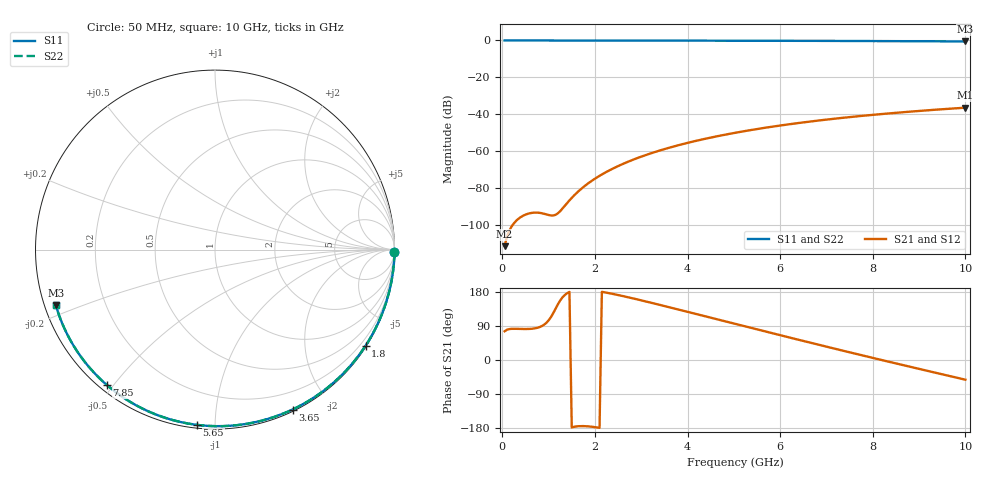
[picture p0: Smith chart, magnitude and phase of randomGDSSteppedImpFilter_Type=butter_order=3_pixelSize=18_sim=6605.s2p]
! freq	dB(S11)	phase(S11)	dB(S12)	phase(S12)
!  dB(S21)	phase(S21)	dB(S22)	phase(S22)
!S-par simulation data
#  GHz  S  DB  R 50
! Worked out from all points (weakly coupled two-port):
!   200 points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, 50 MHz to 10 GHz, reference 50 ohm
!   highest |S21| = -36.49 dB at 10 GHz (marker M1); lowest = -111.7 dB at 50 MHz (marker M2)
!   lowest |S11| = -0.5 dB at 10 GHz (marker M3), VSWR 32.01, Z = 1.61 - j8.45 ohm
!   |S11| at or under -10 dB: nowhere
!   |S22| runs from -0.5 to 0.0 dB; largest |S21 - S12| = 0
!   S11 on the Smith chart (normalised r, x): 50 MHz: open; 1.8 GHz: 0.03, -3.43; 3.65 GHz: 0.02, -1.60; 5.65 GHz: 0.02, -0.90; 7.85 GHz: 0.02, -0.48; 10 GHz: 0.03, -0.17
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0.05  -0.00 -0.9  -111.70 75.8  -111.70 75.8  -0.00 -0.9
0.45  -0.01 -8.3  -95.16 81.8  -95.16 81.8  -0.01 -8.3
0.85  -0.02 -15.5  -93.79 89.3  -93.79 89.3  -0.02 -15.5
1.7  -0.04 -30.7  -80.66 -174.4  -80.66 -174.4  -0.04 -30.7
1.75  -0.04 -31.6  -79.62 -174.4  -79.62 -174.4  -0.04 -31.6
1.8  -0.04 -32.5  -78.62 -174.7  -78.62 -174.7  -0.04 -32.5
2.1  -0.05 -37.8  -73.50 -179.0  -73.50 -179.0  -0.05 -37.8
2.3  -0.05 -41.2  -70.69 176.5  -70.69 176.5  -0.05 -41.2
2.5  -0.06 -44.7  -68.22 171.5  -68.22 171.5  -0.06 -44.7
2.9  -0.07 -51.6  -64.02 160.4  -64.02 160.4  -0.07 -51.6
3.4  -0.08 -60.0  -59.75 145.5  -59.75 145.5  -0.08 -60.0
3.65  -0.09 -64.1  -57.92 137.9  -57.92 137.9  -0.09 -64.1
4.3  -0.11 -74.7  -53.84 117.8  -53.84 117.8  -0.11 -74.7
5.05  -0.13 -86.6  -50.03 94.6  -50.03 94.6  -0.13 -86.6
5.65  -0.16 -95.9  -47.50 76.2  -47.50 76.2  -0.16 -95.9
6.15  -0.19 -103.5  -45.66 60.9  -45.66 60.9  -0.19 -103.5
6.7  -0.22 -111.7  -43.86 44.2  -43.86 44.2  -0.22 -111.7
7.25  -0.26 -119.8  -42.28 27.7  -42.28 27.7  -0.26 -119.8
7.85  -0.31 -128.7  -40.75 9.9  -40.75 9.9  -0.31 -128.6
8.35  -0.35 -136.0  -39.61 -4.7  -39.61 -4.7  -0.35 -136.0
9.2  -0.44 -148.6  -37.89 -29.2  -37.89 -29.2  -0.44 -148.6
10  -0.54 -160.8  -36.49 -52.0  -36.49 -52.0  -0.54 -160.8
